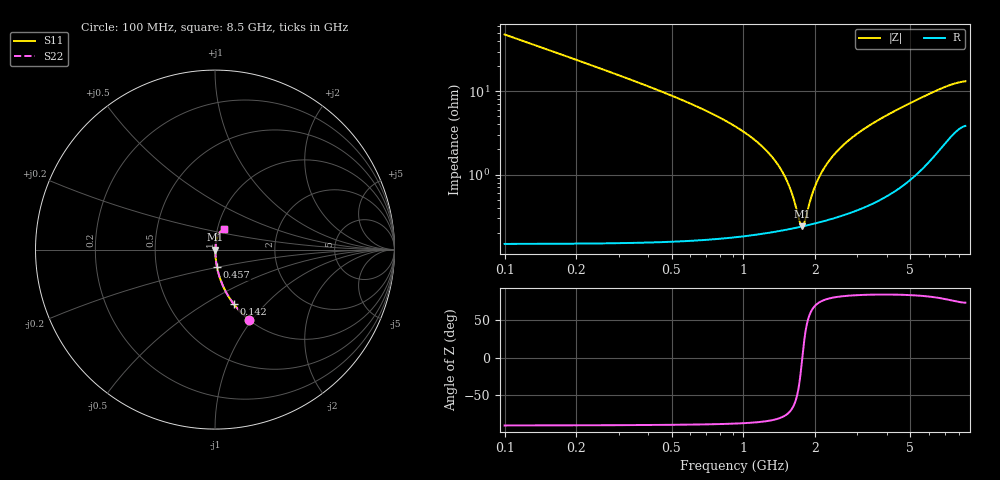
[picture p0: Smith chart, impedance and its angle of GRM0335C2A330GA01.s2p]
!Murata Part Number: GRM0335C2A330GA01
!These Parameters are Measured in Series Mode Connection
!Data Generated on Mar 30, 2021
!  o--ll--o
!Port1  Port2
!  o------o
!Operation Temp=25[degC], DC Bias Voltage=0[V]
!Freq. Start=100[MHz] Stop=9[GHz] 401[Steps]
# Hz S RI R 50
!Freq.(Hz) S11(Real) S11(Imag) S21(Real) S21(Imag) S12(Real) S12(Imag) S22(Real) S22(Imag)
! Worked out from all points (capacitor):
!   401 points, 100 MHz to 8.5 GHz, reference 50 ohm
!   read as one part in series: C = 33 pF near 142 MHz
!   lowest |Z| = 238 mohm at 1.759 GHz (marker M1)
!   series resonance near 1.764 GHz, so ESL is about 250 pH
!   S11 on the Smith chart (normalised r, x): 100 MHz: 1.00, -0.96; 142 MHz: 1.00, -0.67; 457 MHz: 1.00, -0.20; 8.5 GHz: 1.08, +0.25
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1e8  0.1885 -0.3896  0.8115 0.3896  0.8115 0.3896  0.1885 -0.3896
1.42e8  0.1033 -0.3021  0.8967 0.3021  0.8967 0.3021  0.1033 -0.3021
1.84e8  0.0642 -0.2422  0.9358 0.2422  0.9358 0.2422  0.0642 -0.2422
2.68e8  0.0313 -0.17  0.9687 0.17  0.9687 0.17  0.0313 -0.17
4.57e8  0.0111 -0.0972  0.9889 0.0972  0.9889 0.0972  0.0111 -0.0972
1.213e9  0.00238 -0.0209  0.9976 0.0209  0.9976 0.0209  0.00238 -0.0209
1.381e9  0.00225 -0.0135  0.9978 0.0135  0.9978 0.0135  0.00225 -0.0135
1.507e9  0.00224 -0.00861  0.9978 0.00861  0.9978 0.00861  0.00224 -0.00861
1.591e9  0.00226 -0.00563  0.9977 0.00563  0.9977 0.00563  0.00226 -0.00563
1.717e9  0.00234 -0.00147  0.9977 0.00147  0.9977 0.00147  0.00234 -0.00147
1.759e9  0.00237 -0.000158  0.9976 0.000158  0.9976 0.000158  0.00237 -0.000158
1.801e9  0.00241 0.00113  0.9976 -0.00113  0.9976 -0.00113  0.00241 0.00113
1.906e9  0.00252 0.00422  0.9975 -0.00422  0.9975 -0.00422  0.00252 0.00422
1.99e9  0.00262 0.00658  0.9974 -0.00658  0.9974 -0.00658  0.00262 0.00658
2.179e9  0.00289 0.0116  0.9971 -0.0116  0.9971 -0.0116  0.00289 0.0116
2.494e9  0.00346 0.0193  0.9965 -0.0193  0.9965 -0.0193  0.00346 0.0193
2.914e9  0.00442 0.0287  0.9956 -0.0287  0.9956 -0.0287  0.00442 0.0287
3.502e9  0.00617 0.0409  0.9938 -0.0409  0.9938 -0.0409  0.00617 0.0409
4.3e9  0.00947 0.0567  0.9905 -0.0567  0.9905 -0.0567  0.00947 0.0567
5.707e9  0.0192 0.0834  0.9808 -0.0834  0.9808 -0.0834  0.0192 0.0834
7.114e9  0.0361 0.1057  0.9639 -0.1057  0.9639 -0.1057  0.0361 0.1057
8.5e9  0.051 0.1153  0.949 -0.1153  0.949 -0.1153  0.051 0.1153
